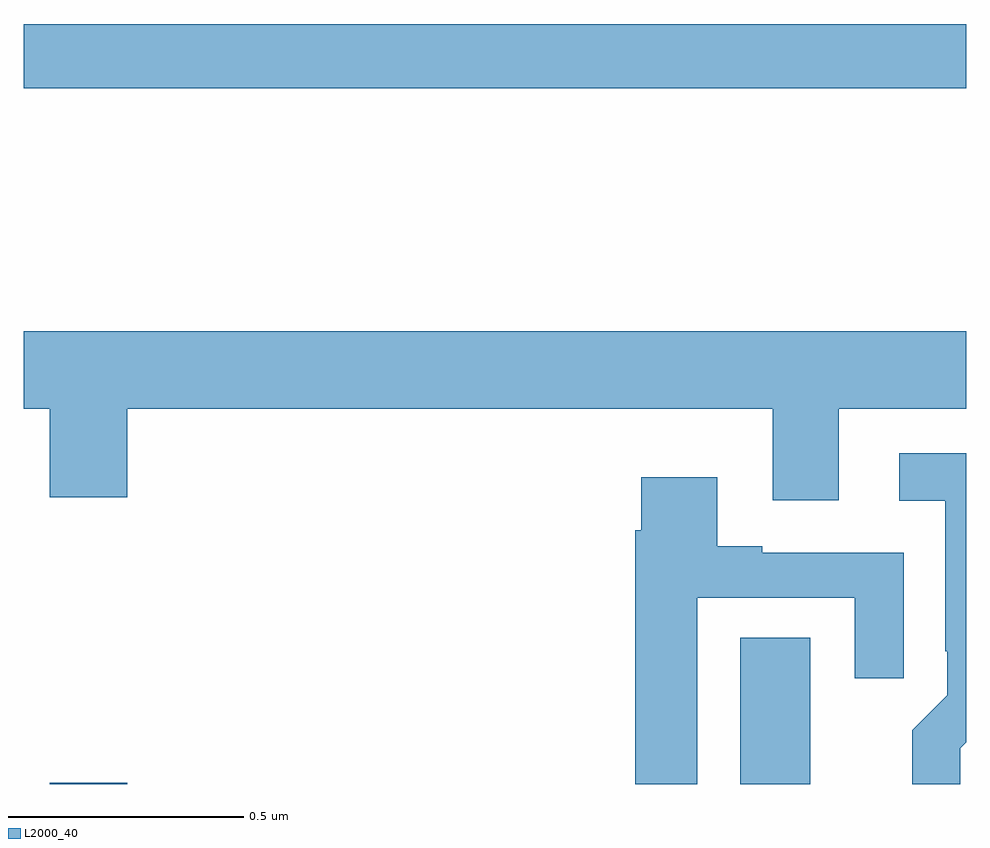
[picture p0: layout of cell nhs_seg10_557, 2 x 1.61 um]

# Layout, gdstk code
import gdstk
lib = gdstk.Library(unit=1e-6, precision=1e-09)
def R(c, l, rs):  # rectangles x0, y0, x1, y1
    for r in rs: c.add(gdstk.rectangle(r[:2], r[2:], *l))
def P(c, l, *ps):  # polygons
    for p in ps: c.add(gdstk.Polygon(p, *l))
L2000_40 = (2000, 40)

nhs_seg10_557 = lib.new_cell('nhs_seg10_557')
R(nhs_seg10_557, L2000_40, [(117.056,1319.5,117.22,1319.503), (118.52,1319.5,118.669,1319.81), (117,1320.976,119,1321.112)])
P(nhs_seg10_557, L2000_40, [(118.729,1320.296),(119,1320.296),(119,1320.46),(117,1320.46),(117,1320.296),(117.056,1320.296),(117.056,1320.108),(117.22,1320.108),(117.22,1320.296),(118.589,1320.296),(118.589,1320.102),(118.729,1320.102)],
  [(118.987,1319.576),(119,1319.589),(119,1320.202),(118.857,1320.202),(118.857,1320.101),(118.955,1320.101),(118.955,1319.782),(118.959,1319.782),(118.959,1319.688),(118.885,1319.614),(118.885,1319.5),(118.987,1319.5)],
  [(118.429,1319.895),(118.763,1319.895),(118.763,1319.724),(118.867,1319.724),(118.867,1319.991),(118.567,1319.991),(118.567,1320.004),(118.471,1320.004),(118.471,1320.151),(118.31,1320.151),(118.31,1320.038),(118.298,1320.038),(118.298,1319.5),(118.429,1319.5)])

lib.write_gds('nhs_seg10_557.gds')
